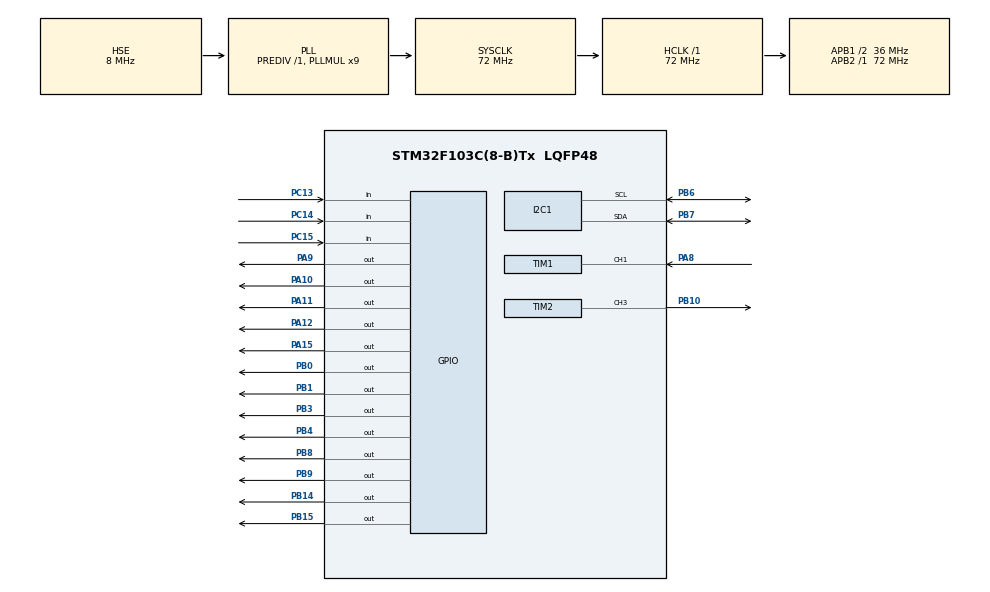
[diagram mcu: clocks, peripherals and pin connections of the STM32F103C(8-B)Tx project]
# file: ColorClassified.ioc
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Mcu.Family=STM32F1
Mcu.Name=STM32F103C(8-B)Tx
Mcu.Package=LQFP48
NVIC.PriorityGroup=NVIC_PRIORITYGROUP_4
NVIC.TIM1_CC_IRQn=true\:1\:0\:true\:false\:true\:true\:true\:true
NVIC.TIM2_IRQn=true\:3\:0\:true\:false\:true\:true\:true\:true
PA10.Signal=GPIO_Output
PA11.Signal=GPIO_Output
PA12.Signal=GPIO_Output
PA13.Mode=Serial_Wire
PA13.Signal=SYS_JTMS-SWDIO
PA14.Mode=Serial_Wire
PA14.Signal=SYS_JTCK-SWCLK
PA15.Signal=GPIO_Output
PA8.Signal=S_TIM1_CH1
PA9.Signal=GPIO_Output
PB0.Signal=GPIO_Output
PB1.Signal=GPIO_Output
PB10.Signal=S_TIM2_CH3
PB14.Signal=GPIO_Output
PB15.Signal=GPIO_Output
PB3.Signal=GPIO_Output
PB4.Signal=GPIO_Output
PB6.Mode=I2C
PB6.Signal=I2C1_SCL
PB7.Mode=I2C
PB7.Signal=I2C1_SDA
PB8.Signal=GPIO_Output
PB9.Signal=GPIO_Output
PC13-TAMPER-RTC.Signal=GPIO_Input
PC14-OSC32_IN.Signal=GPIO_Input
PC15-OSC32_OUT.Signal=GPIO_Input
PD0-OSC_IN.Mode=HSE-External-Oscillator
PD0-OSC_IN.Signal=RCC_OSC_IN
PD1-OSC_OUT.Mode=HSE-External-Oscillator
PD1-OSC_OUT.Signal=RCC_OSC_OUT
ProjectManager.HeapSize=0x200
ProjectManager.StackSize=0x400
ProjectManager.TargetToolchain=MDK-ARM V5
RCC.AHBFreq_Value=72000000
RCC.APB1CLKDivider=RCC_HCLK_DIV2
RCC.APB1Freq_Value=36000000
RCC.APB1TimFreq_Value=72000000
RCC.APB2Freq_Value=72000000
RCC.APB2TimFreq_Value=72000000
RCC.HCLKFreq_Value=72000000
RCC.PLLMUL=RCC_PLL_MUL9
RCC.PLLSourceVirtual=RCC_PLLSOURCE_HSE
RCC.SYSCLKFreq_VALUE=72000000
RCC.SYSCLKSource=RCC_SYSCLKSOURCE_PLLCLK
RCC.USBFreq_Value=72000000
SH.S_TIM1_CH1.0=TIM1_CH1,Input_Capture1_from_TI1
SH.S_TIM2_CH3.0=TIM2_CH3,PWM Generation3 CH3
TIM1.Channel-Input_Capture1_from_TI1=TIM_CHANNEL_1
TIM1.ICPolarity_CH1=TIM_INPUTCHANNELPOLARITY_FALLING
TIM1.Prescaler=72-1
TIM2.Channel-PWM\ Generation3\ CH3=TIM_CHANNEL_3
TIM2.OCMode_PWM-PWM\ Generation3\ CH3=TIM_OCMODE_PWM1
TIM2.Period=10000
TIM2.Prescaler=144-1
VP_TIM1_VS_ClockSourceINT.Mode=Internal
VP_TIM2_VS_ClockSourceINT.Mode=Internal
board=custom

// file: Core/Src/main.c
#include "main.h"
#include "i2c-lcd.h"
#include "String.h"
#include "stdio.h"

/* USER CODE BEGIN PD */
// Define the maximum speed of the stepper motor in steps per second
#define MAX_SPEED 1000
// Define the acceleration of the stepper motor in steps per second squared
#define ACCELERATION 1000
// Define the number of steps per revolution of the stepper motor
#define STEPS_PER_REV 200
// Define the number of microsteps per step
#define MICROSTEPS 1
// Define the number of steps to move for each microstep
#define STEPS_PER_MICROSTEP (STEPS_PER_REV * MICROSTEPS)
// Define the maximum delay between steps in microseconds
#define MAX_STEP_DELAY (1000000 / MAX_SPEED)
// Define the minimum delay between steps in microseconds
#define MIN_STEP_DELAY (1000000 / (MAX_SPEED * ACCELERATION))
// Define the current step delay in microseconds
uint32_t step_delay = MAX_STEP_DELAY;

/// Define pin for A4988_X
#define DIR_PIN_X GPIO_PIN_4
#define DIR_PORT_X GPIOB
#define STEP_PIN_X GPIO_PIN_8
#define STEP_PORT_X GPIOB
#define EN_PIN_X GPIO_PIN_9
#define EN_PORT_X GPIOB

/// Define pin for A4988_Y
#define DIR_PIN_Y GPIO_PIN_9
#define DIR_PORT_Y GPIOA
#define STEP_PIN_Y GPIO_PIN_10
#define STEP_PORT_Y GPIOA
#define EN_PIN_Y GPIO_PIN_11
#define EN_PORT_Y GPIOA

/// Define pin for A4988_Z
#define DIR_PIN_Z GPIO_PIN_12
#define DIR_PORT_Z GPIOA
#define STEP_PIN_Z GPIO_PIN_15
#define STEP_PORT_Z GPIOA
#define EN_PIN_Z GPIO_PIN_3
#define EN_PORT_Z GPIOB

/// Define pin for switch controlling
#define SW_PIN_X GPIO_PIN_13
#define SW_PORT_X GPIOC
#define SW_PIN_Y GPIO_PIN_14
#define SW_PORT_Y GPIOC
#define SW_PIN_Z GPIO_PIN_15
#define SW_PORT_Z GPIOC

/// Define pin for servo
#define Servo_PIN GPIO_PIN_10
#define Servo_PORT GPIOB

/// Define pin for color sensor
#define S0_PIN GPIO_PIN_0
#define S0_PORT GPIOB
#define S1_PIN GPIO_PIN_1
#define S1_PORT GPIOB
#define S2_PIN GPIO_PIN_15
#define S2_PORT GPIOB
#define S3_PIN GPIO_PIN_14
#define S3_PORT GPIOB

/// Define pin for servo
#define Servo_PORT GPIOB
#define Servo_PIN GPIO_PIN_10

/// Define pin for color sensor
#define S0_PORT GPIOB
#define S0_PIN GPIO_PIN_0
#define S1_PORT GPIOB
#define S1_PIN GPIO_PIN_1
#define S2_PORT GPIOB
#define S2_PIN GPIO_PIN_15
#define S3_PORT GPIOB
#define S3_PIN GPIO_PIN_14
#define OUT_PORT GPIOA
#define OUT_PIN GPIO_PIN_8
/* USER CODE END PD */

I2C_HandleTypeDef hi2c1;

TIM_HandleTypeDef htim1;
TIM_HandleTypeDef htim2;

void SystemClock_Config(void);
static void MX_GPIO_Init(void);
static void MX_TIM1_Init(void);
static void MX_TIM2_Init(void);
static void MX_I2C1_Init(void);

void Delay_us (uint16_t delay)
{
  for(int i=0;i<99;i++)
	{
		for(int j=0;j<(delay/10);j++)
		{

		}
	}
}
long map(long x, long in_min, long in_max, long out_min, long out_max)
{
  return (x - in_min) * (out_max - out_min) / (in_max - in_min) + out_min;
}
void servo_write(int angle)
{
	TIM2->CCR3 = map(angle,0,180,250,1250);
}
void stepX(int steps, uint8_t direction)
{
	HAL_GPIO_WritePin(EN_PORT_X,EN_PIN_X,GPIO_PIN_RESET);
  int x;
  if (direction == 1) HAL_GPIO_WritePin(DIR_PORT_X, DIR_PIN_X, GPIO_PIN_SET);
  else HAL_GPIO_WritePin(DIR_PORT_X, DIR_PIN_X, GPIO_PIN_RESET);
  for(x=0; x<steps; x++)
  {
    HAL_GPIO_WritePin(STEP_PORT_X, STEP_PIN_X, GPIO_PIN_SET);
		Delay_us(MAX_STEP_DELAY);
		//HAL_Delay(1);
    HAL_GPIO_WritePin(STEP_PORT_X, STEP_PIN_X, GPIO_PIN_RESET);
		Delay_us(MAX_STEP_DELAY);
		//HAL_Delay(1);
  }
}
void stepY(int steps, uint8_t direction)
{
	HAL_GPIO_WritePin(EN_PORT_Y,EN_PIN_Y,GPIO_PIN_RESET);
  int x;
  if (direction == 1)	HAL_GPIO_WritePin(DIR_PORT_Y, DIR_PIN_Y, GPIO_PIN_SET);
  else	HAL_GPIO_WritePin(DIR_PORT_Y, DIR_PIN_Y, GPIO_PIN_RESET);
  for(x=0; x<steps; x++)
  {
    HAL_GPIO_WritePin(STEP_PORT_Y, STEP_PIN_Y, GPIO_PIN_SET);
		//HAL_Delay(1);
    Delay_us(MAX_STEP_DELAY);
    HAL_GPIO_WritePin(STEP_PORT_Y, STEP_PIN_Y, GPIO_PIN_RESET);
    //HAL_Delay(1);
		Delay_us(MAX_STEP_DELAY);
  }
}
void stepZ(int steps, uint8_t direction)
{
	HAL_GPIO_WritePin(EN_PORT_Z,EN_PIN_Z,GPIO_PIN_RESET);
  int x;
  if (direction == 1)
    HAL_GPIO_WritePin(DIR_PORT_Z, DIR_PIN_Z, GPIO_PIN_SET);
  else
    HAL_GPIO_WritePin(DIR_PORT_Z, DIR_PIN_Z, GPIO_PIN_RESET);
  for(x=0; x<steps; x++)
  {
    HAL_GPIO_WritePin(STEP_PORT_Z, STEP_PIN_Z, GPIO_PIN_SET);
		//HAL_Delay(1);
		Delay_us(MAX_STEP_DELAY);
    HAL_GPIO_WritePin(STEP_PORT_Z, STEP_PIN_Z, GPIO_PIN_RESET);
		Delay_us(MAX_STEP_DELAY);
		//HAL_Delay(1);
  }
}
void init_stepper()
{
	while(HAL_GPIO_ReadPin(SW_PORT_Z,SW_PIN_Z) == GPIO_PIN_RESET)
	{
		stepY(1,0);
	}
	while(HAL_GPIO_ReadPin(SW_PORT_X,SW_PIN_X) == GPIO_PIN_RESET)
	{
		stepX(1,0);
	}
	while(HAL_GPIO_ReadPin(SW_PORT_Y,SW_PIN_Y) == GPIO_PIN_RESET)
	{
		stepZ(1,0);
	}

}
void Move_to_grab_position()
{
	stepX(1650,1);
	stepZ(1500,1);

	servo_write(130); // mo tay gap

	stepY(350,1);
	servo_write(180); // dong tay gap
}
void Grab()
{
	HAL_Delay(200);
	servo_write(130); // mo tay gap
	stepY(360,1);
	servo_write(180); // dong tay gap
	stepY(360,0);

}
void Move_to_red()
{
	HAL_Delay(100);
	while(HAL_GPIO_ReadPin(SW_PORT_Z,SW_PIN_Z) == GPIO_PIN_RESET)
	{
		stepY(1,0);
	}
	stepX(700,0);
	while(HAL_GPIO_ReadPin(SW_PORT_Y,SW_PIN_Y) == GPIO_PIN_RESET)
	{
		stepZ(1,0);
	}
	stepY(350,1);
	servo_write(130);
	HAL_Delay(100);

	// Move Back To Grab
	stepY(350,0);
	stepZ(1500,1);
	stepX(700,1);
}
void Move_to_yellow()
{
	HAL_Delay(100);
	while(HAL_GPIO_ReadPin(SW_PORT_Z,SW_PIN_Z) == GPIO_PIN_RESET)
	{
		stepY(1,0);
	}
	stepX(1150,0);
	while(HAL_GPIO_ReadPin(SW_PORT_Y,SW_PIN_Y) == GPIO_PIN_RESET)
	{
		stepZ(1,0);
	}
	stepY(350,1);
	servo_write(130);
	HAL_Delay(100);

	// Move Back To Grab
	stepY(350,0);
	stepX(1150,1);
	stepZ(1500,1);
}
void Move_to_green()
{
	HAL_Delay(100);
	while(HAL_GPIO_ReadPin(SW_PORT_Z,SW_PIN_Z) == GPIO_PIN_RESET)
	{
		stepY(1,0);
	}
	while(HAL_GPIO_ReadPin(SW_PORT_X,SW_PIN_X) == GPIO_PIN_RESET)
	{
		stepX(1,0);
	}
	while(HAL_GPIO_ReadPin(SW_PORT_Y,SW_PIN_Y) == GPIO_PIN_RESET)
	{
		stepZ(1,0);
	}
	stepY(350,1);
	servo_write(130);
	HAL_Delay(100);

	// Move Back To Grab
	stepY(350,0);
	stepX(1650,1);
	stepZ(1500,1);
}

// handle color sensor
uint32_t red, blue, green;
uint32_t icValue =0;
uint32_t preIcValue =0;
uint32_t T =0;
uint32_t isCaptured = 0;
void HAL_TIM_IC_CaptureCallback(TIM_HandleTypeDef *htim)
{
	if (htim->Channel == HAL_TIM_ACTIVE_CHANNEL_1)
	{
		if(isCaptured == 0)
		{
			preIcValue = HAL_TIM_ReadCapturedValue(htim,TIM_CHANNEL_1);
			isCaptured = 1;
			__HAL_TIM_SET_CAPTUREPOLARITY(htim,TIM_CHANNEL_1,TIM_INPUTCHANNELPOLARITY_RISING);
		}
		else if(isCaptured == 1)
		{
			icValue = HAL_TIM_ReadCapturedValue(htim,TIM_CHANNEL_1);
			__HAL_TIM_SET_COUNTER(htim,0);
			if(icValue > preIcValue)
			{
				T = icValue - preIcValue;
			}
			else if(preIcValue > icValue)
			{
				T = 0xFFFF + preIcValue - icValue;
			}
			isCaptured = 0;
			__HAL_TIM_SET_CAPTUREPOLARITY(htim,TIM_CHANNEL_1,TIM_INPUTCHANNELPOLARITY_FALLING);
		}
	}
}
uint32_t redFreq = 0;
uint16_t Learn[100];
uint32_t red_fre = 0, green_fre = 0, yellow_fre = 0;
uint32_t readColor()
{
		HAL_GPIO_WritePin(S2_PORT, S2_PIN, 0);
	  HAL_GPIO_WritePin(S3_PORT, S3_PIN, 0);
    redFreq = T;
		return redFreq;
		HAL_Delay(1);
}

void learn_color()
{
	HAL_GPIO_WritePin(EN_PORT_X,EN_PIN_X,GPIO_PIN_SET);
	HAL_GPIO_WritePin(EN_PORT_Y,EN_PIN_Y,GPIO_PIN_SET);
	HAL_GPIO_WritePin(EN_PORT_Z,EN_PIN_Z,GPIO_PIN_SET);
	uint32_t total = 0 ;
	//string time;
	// learn red
	lcd_put_cur(0,0);
	lcd_send_string("Hoc Mau Do");
	HAL_Delay(1000);
	lcd_put_cur(1,0);
	lcd_send_string("3");
	HAL_Delay(1000);
	lcd_put_cur(1,0);
	lcd_send_string("2");
	HAL_Delay(1000);
	lcd_put_cur(1,0);
	lcd_send_string("1");
	HAL_Delay(1000);
	lcd_clear();
	for (int i = 0; i < 100; i++) {
    readColor();
    Learn[i] = redFreq;
		total += Learn[i];
  }
	red_fre = total/100;
	total = 0;
	lcd_put_cur(0,0);
	lcd_send_string("Done");
	HAL_Delay(1000);
	lcd_clear();
	// learn green

	lcd_put_cur(0,0);
	lcd_send_string("Hoc Mau Xanh La");
	HAL_Delay(1000);
	lcd_put_cur(1,0);
	lcd_send_string("3");
	HAL_Delay(1000);
	lcd_put_cur(1,0);
	lcd_send_string("2");
	HAL_Delay(1000);
	lcd_put_cur(1,0);
	lcd_send_string("1");
	HAL_Delay(1000);
	lcd_clear();
	for (int i = 0; i < 100; i++) {
    readColor();
    Learn[i] = redFreq;
		total += Learn[i];
  }
	green_fre = total/100;
	total = 0;
	lcd_put_cur(0,0);
	lcd_send_string("Done");
	HAL_Delay(1000);
	lcd_clear();

	// learn yellow

	lcd_put_cur(0,0);
	lcd_send_string("Hoc Mau Vang");
	HAL_Delay(1000);
	lcd_put_cur(1,0);
	lcd_send_string("3");
	HAL_Delay(1000);
	lcd_put_cur(1,0);
	lcd_send_string("2");
	HAL_Delay(1000);
	lcd_put_cur(1,0);
	lcd_send_string("1");
	HAL_Delay(1000);
	lcd_clear();
	for (int i = 0; i < 100; i++) {
    readColor();
    Learn[i] = redFreq;
		total += Learn[i];
  }
	yellow_fre = total/100;
	total = 0;
	lcd_put_cur(0,0);
	lcd_send_string("Done");
	HAL_Delay(1000);
	lcd_clear();
}
uint32_t redBuffer[150], min_number ;
uint32_t Min()
{
	min_number = 10000;
	uint16_t i;
	for(i = 0;i < 150;i ++)
	{
			if(redBuffer[i] < min_number) min_number = redBuffer[i];
	}
	return min_number;
}
uint16_t isGreen = 0, isYellow = 0, isRed = 0, isNoObject = 0;
void colorDetect()
{
	HAL_Delay(2000);
	readColor();
  if (redFreq < (green_fre + 10))
	{
    for (int i = 0; i < 150; i++)
		{
      readColor();
      redBuffer[i] = redFreq;
    }
		Min();
    if ( (red_fre + yellow_fre) / 2 < min_number &&  min_number <  (green_fre+red_fre) / 2 )
		{
      isRed = 1 ;

    }
    else if (((red_fre + green_fre) / 2) < min_number)
		{
      isGreen = 1;

    }
    else if (min_number < ((red_fre + yellow_fre) / 2))
		{
      isYellow = 1;

    }
  }
  else
	{
    isNoObject = 1;
  }
}
uint32_t degree = 0;
int main(void)
{

  HAL_Init();

  SystemClock_Config();

  MX_GPIO_Init();
  MX_TIM1_Init();
  MX_TIM2_Init();
  MX_I2C1_Init();

	HAL_TIM_Base_Start(&htim2);
	HAL_TIM_Base_Start(&htim1);
	HAL_TIM_PWM_Start(&htim2, TIM_CHANNEL_3);
	HAL_TIM_IC_Start_IT(&htim1,TIM_CHANNEL_1);
	HAL_GPIO_WritePin(S0_PORT, S0_PIN, 1);
	HAL_GPIO_WritePin(S1_PORT, S1_PIN, 0);

	//servo_write(130);
	lcd_init();
	//init_stepper();

	learn_color();
	uint32_t isFirstTime = 1,countRed = 0, countYellow = 0, countGreen = 0;
	char sred[100], syellow[100], sgreen[100];
  while (1)
  {
		colorDetect();
		if(isRed == 1)
		{
			countRed++;
			lcd_clear();
			lcd_put_cur(0,0);
			lcd_send_string("Do");
			lcd_put_cur(0,5);
			lcd_send_string("Vang");
			lcd_put_cur(0,10);
			lcd_send_string("Xanh");
			lcd_put_cur(1,0);
			sprintf(sred,"%d",countRed);
			lcd_send_string(sred);
			lcd_put_cur(1,5);
			sprintf(syellow,"%d",countYellow);
			lcd_send_string(syellow);
			lcd_put_cur(1,10);
			sprintf(sgreen,"%d",countGreen);
			lcd_send_string(sgreen);

			if(isFirstTime == 1)
			{
				Move_to_grab_position();
				Move_to_red();
				isFirstTime = 0;
			}
			else
			{
				Grab();
				Move_to_red();
			}
		}
		if(isGreen == 1)
		{
			countGreen++;
			lcd_clear();
			lcd_put_cur(0,0);
			lcd_send_string("Do");
			lcd_put_cur(0,5);
			lcd_send_string("Vang");
			lcd_put_cur(0,10);
			lcd_send_string("Xanh");
			lcd_put_cur(1,0);
			sprintf(sred,"%d",countRed);
			lcd_send_string(sred);
			lcd_put_cur(1,5);
			sprintf(syellow,"%d",countYellow);
			lcd_send_string(syellow);
			lcd_put_cur(1,10);
			sprintf(sgreen,"%d",countGreen);
			lcd_send_string(sgreen);
			if(isFirstTime == 1)
			{
				Move_to_grab_position();
				Move_to_green();
				isFirstTime = 0;
			}
			else
			{
				Grab();
				Move_to_green();
			}
		}
		if(isYellow == 1)
		{
			countYellow++;
			lcd_clear();
			lcd_put_cur(0,0);
			lcd_send_string("Do");
			lcd_put_cur(0,5);
			lcd_send_string("Vang");
			lcd_put_cur(0,10);
			lcd_send_string("Xanh");
			lcd_put_cur(1,0);
			sprintf(sred,"%d",countRed);
			lcd_send_string(sred);
			lcd_put_cur(1,5);
			sprintf(syellow,"%d",countYellow);
			lcd_send_string(syellow);
			lcd_put_cur(1,10);
			sprintf(sgreen,"%d",countGreen);
			lcd_send_string(sgreen);
			if(isFirstTime == 1)
			{
				Move_to_grab_position();
				Move_to_yellow();
				isFirstTime = 0;
			}
			else
			{
				Grab();
				Move_to_yellow();
			}
		}
		else
		{
			lcd_clear();
			lcd_put_cur(0,0);
			lcd_send_string("Do");
			lcd_put_cur(0,5);
			lcd_send_string("Vang");
			lcd_put_cur(0,10);
			lcd_send_string("Xanh");
			lcd_put_cur(1,0);
			sprintf(sred,"%d",countRed);
			lcd_send_string(sred);
			lcd_put_cur(1,5);
			sprintf(syellow,"%d",countYellow);
			lcd_send_string(syellow);
			lcd_put_cur(1,10);
			sprintf(sgreen,"%d",countGreen);
			lcd_send_string(sgreen);
		}
		HAL_Delay(1000);
		isGreen = 0, isYellow = 0, isRed = 0, isNoObject = 0;
  }

}

void SystemClock_Config(void)
{
  RCC_OscInitTypeDef RCC_OscInitStruct = {0};
  RCC_ClkInitTypeDef RCC_ClkInitStruct = {0};

  /** Initializes the RCC Oscillators according to the specified parameters
  * in the RCC_OscInitTypeDef structure.
  */
  RCC_OscInitStruct.OscillatorType = RCC_OSCILLATORTYPE_HSE;
  RCC_OscInitStruct.HSEState = RCC_HSE_ON;
  RCC_OscInitStruct.HSEPredivValue = RCC_HSE_PREDIV_DIV1;
  RCC_OscInitStruct.HSIState = RCC_HSI_ON;
  RCC_OscInitStruct.PLL.PLLState = RCC_PLL_ON;
  RCC_OscInitStruct.PLL.PLLSource = RCC_PLLSOURCE_HSE;
  RCC_OscInitStruct.PLL.PLLMUL = RCC_PLL_MUL9;
  if (HAL_RCC_OscConfig(&RCC_OscInitStruct) != HAL_OK)
  {
    Error_Handler();
  }

  /** Initializes the CPU, AHB and APB buses clocks
  */
  RCC_ClkInitStruct.ClockType = RCC_CLOCKTYPE_HCLK|RCC_CLOCKTYPE_SYSCLK
                              |RCC_CLOCKTYPE_PCLK1|RCC_CLOCKTYPE_PCLK2;
  RCC_ClkInitStruct.SYSCLKSource = RCC_SYSCLKSOURCE_PLLCLK;
  RCC_ClkInitStruct.AHBCLKDivider = RCC_SYSCLK_DIV1;
  RCC_ClkInitStruct.APB1CLKDivider = RCC_HCLK_DIV2;
  RCC_ClkInitStruct.APB2CLKDivider = RCC_HCLK_DIV1;

  if (HAL_RCC_ClockConfig(&RCC_ClkInitStruct, FLASH_LATENCY_2) != HAL_OK)
  {
    Error_Handler();
  }
}

static void MX_I2C1_Init(void)
{

  hi2c1.Instance = I2C1;
  hi2c1.Init.ClockSpeed = 100000;
  hi2c1.Init.DutyCycle = I2C_DUTYCYCLE_2;
  hi2c1.Init.OwnAddress1 = 0;
  hi2c1.Init.AddressingMode = I2C_ADDRESSINGMODE_7BIT;
  hi2c1.Init.DualAddressMode = I2C_DUALADDRESS_DISABLE;
  hi2c1.Init.OwnAddress2 = 0;
  hi2c1.Init.GeneralCallMode = I2C_GENERALCALL_DISABLE;
  hi2c1.Init.NoStretchMode = I2C_NOSTRETCH_DISABLE;
  if (HAL_I2C_Init(&hi2c1) != HAL_OK)
  {
    Error_Handler();
  }

}

static void MX_TIM1_Init(void)
{

  TIM_ClockConfigTypeDef sClockSourceConfig = {0};
  TIM_MasterConfigTypeDef sMasterConfig = {0};
  TIM_IC_InitTypeDef sConfigIC = {0};

  htim1.Instance = TIM1;
  htim1.Init.Prescaler = 72-1;
  htim1.Init.CounterMode = TIM_COUNTERMODE_UP;
  htim1.Init.Period = 65535;
  htim1.Init.ClockDivision = TIM_CLOCKDIVISION_DIV1;
  htim1.Init.RepetitionCounter = 0;
  htim1.Init.AutoReloadPreload = TIM_AUTORELOAD_PRELOAD_DISABLE;
  if (HAL_TIM_Base_Init(&htim1) != HAL_OK)
  {
    Error_Handler();
  }
  sClockSourceConfig.ClockSource = TIM_CLOCKSOURCE_INTERNAL;
  if (HAL_TIM_ConfigClockSource(&htim1, &sClockSourceConfig) != HAL_OK)
  {
    Error_Handler();
  }
  if (HAL_TIM_IC_Init(&htim1) != HAL_OK)
  {
    Error_Handler();
  }
  sMasterConfig.MasterOutputTrigger = TIM_TRGO_RESET;
  sMasterConfig.MasterSlaveMode = TIM_MASTERSLAVEMODE_DISABLE;
  if (HAL_TIMEx_MasterConfigSynchronization(&htim1, &sMasterConfig) != HAL_OK)
  {
    Error_Handler();
  }
  sConfigIC.ICPolarity = TIM_INPUTCHANNELPOLARITY_FALLING;
  sConfigIC.ICSelection = TIM_ICSELECTION_DIRECTTI;
  sConfigIC.ICPrescaler = TIM_ICPSC_DIV1;
  sConfigIC.ICFilter = 0;
  if (HAL_TIM_IC_ConfigChannel(&htim1, &sConfigIC, TIM_CHANNEL_1) != HAL_OK)
  {
    Error_Handler();
  }

}

static void MX_TIM2_Init(void)
{

  TIM_ClockConfigTypeDef sClockSourceConfig = {0};
  TIM_MasterConfigTypeDef sMasterConfig = {0};
  TIM_OC_InitTypeDef sConfigOC = {0};

  htim2.Instance = TIM2;
  htim2.Init.Prescaler = 144-1;
  htim2.Init.CounterMode = TIM_COUNTERMODE_UP;
  htim2.Init.Period = 10000-1;
  htim2.Init.ClockDivision = TIM_CLOCKDIVISION_DIV1;
  htim2.Init.AutoReloadPreload = TIM_AUTORELOAD_PRELOAD_DISABLE;
  if (HAL_TIM_Base_Init(&htim2) != HAL_OK)
  {
    Error_Handler();
  }
  sClockSourceConfig.ClockSource = TIM_CLOCKSOURCE_INTERNAL;
  if (HAL_TIM_ConfigClockSource(&htim2, &sClockSourceConfig) != HAL_OK)
  {
    Error_Handler();
  }
  if (HAL_TIM_PWM_Init(&htim2) != HAL_OK)
  {
    Error_Handler();
  }
  sMasterConfig.MasterOutputTrigger = TIM_TRGO_RESET;
  sMasterConfig.MasterSlaveMode = TIM_MASTERSLAVEMODE_DISABLE;
  if (HAL_TIMEx_MasterConfigSynchronization(&htim2, &sMasterConfig) != HAL_OK)
  {
    Error_Handler();
  }
  sConfigOC.OCMode = TIM_OCMODE_PWM1;
  sConfigOC.Pulse = 0;
  sConfigOC.OCPolarity = TIM_OCPOLARITY_HIGH;
  sConfigOC.OCFastMode = TIM_OCFAST_DISABLE;
  if (HAL_TIM_PWM_ConfigChannel(&htim2, &sConfigOC, TIM_CHANNEL_3) != HAL_OK)
  {
    Error_Handler();
  }
  HAL_TIM_MspPostInit(&htim2);

}

static void MX_GPIO_Init(void)
{
  GPIO_InitTypeDef GPIO_InitStruct = {0};

  /* GPIO Ports Clock Enable */
  __HAL_RCC_GPIOC_CLK_ENABLE();
  __HAL_RCC_GPIOD_CLK_ENABLE();
  __HAL_RCC_GPIOB_CLK_ENABLE();
  __HAL_RCC_GPIOA_CLK_ENABLE();

  /*Configure GPIO pin Output Level */
  HAL_GPIO_WritePin(GPIOB, GPIO_PIN_0|GPIO_PIN_1|GPIO_PIN_14|GPIO_PIN_15
                          |GPIO_PIN_3|GPIO_PIN_4|GPIO_PIN_8|GPIO_PIN_9, GPIO_PIN_RESET);

  /*Configure GPIO pin Output Level */
  HAL_GPIO_WritePin(GPIOA, GPIO_PIN_9|GPIO_PIN_10|GPIO_PIN_11|GPIO_PIN_12
                          |GPIO_PIN_15, GPIO_PIN_RESET);

  /*Configure GPIO pins : PC13 PC14 PC15 */
  GPIO_InitStruct.Pin = GPIO_PIN_13|GPIO_PIN_14|GPIO_PIN_15;
  GPIO_InitStruct.Mode = GPIO_MODE_INPUT;
  GPIO_InitStruct.Pull = GPIO_NOPULL;
  HAL_GPIO_Init(GPIOC, &GPIO_InitStruct);

  /*Configure GPIO pins : PB0 PB1 PB14 PB15
                           PB3 PB4 PB8 PB9 */
  GPIO_InitStruct.Pin = GPIO_PIN_0|GPIO_PIN_1|GPIO_PIN_14|GPIO_PIN_15
                          |GPIO_PIN_3|GPIO_PIN_4|GPIO_PIN_8|GPIO_PIN_9;
  GPIO_InitStruct.Mode = GPIO_MODE_OUTPUT_PP;
  GPIO_InitStruct.Pull = GPIO_NOPULL;
  GPIO_InitStruct.Speed = GPIO_SPEED_FREQ_LOW;
  HAL_GPIO_Init(GPIOB, &GPIO_InitStruct);

  /*Configure GPIO pins : PA9 PA10 PA11 PA12
                           PA15 */
  GPIO_InitStruct.Pin = GPIO_PIN_9|GPIO_PIN_10|GPIO_PIN_11|GPIO_PIN_12
                          |GPIO_PIN_15;
  GPIO_InitStruct.Mode = GPIO_MODE_OUTPUT_PP;
  GPIO_InitStruct.Pull = GPIO_NOPULL;
  GPIO_InitStruct.Speed = GPIO_SPEED_FREQ_LOW;
  HAL_GPIO_Init(GPIOA, &GPIO_InitStruct);

}

void Error_Handler(void)
{
  __disable_irq();
  while (1)
  {
  }
}
